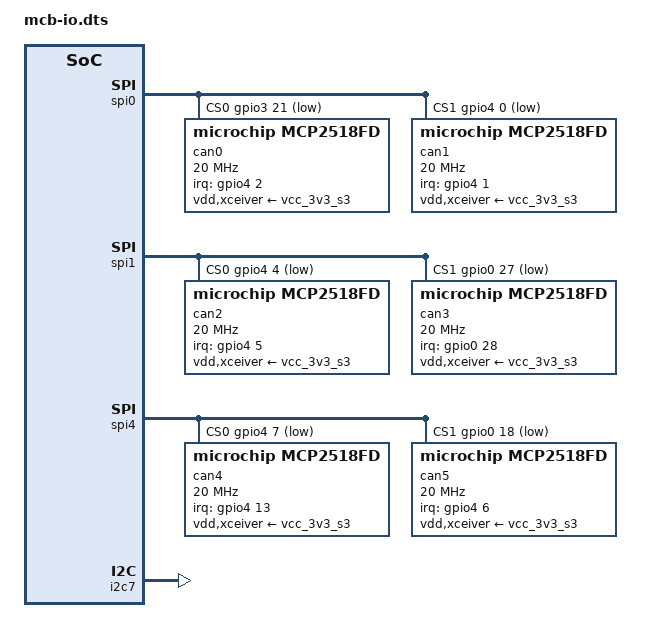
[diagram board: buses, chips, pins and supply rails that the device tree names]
/dts-v1/;
/plugin/;

/ {
    fragment@0 {
        target = <&spi0>;
        __overlay__ {
            status = "okay";
            num-cs = <2>;
            pinctrl-names = "default";
            pinctrl-0 = <&spi0m2_pins &mcp2518_spi0_cs0 &mcp2518_spi0_cs1>;
            #address-cells = <1>;
            #size-cells = <0>;
            max-freq = <20000000>;

            cs-gpios = <&gpio3 21 1>, <&gpio4 0 1>;

            can0: mcp2518fd@0 {
                status = "okay";
                compatible = "microchip,mcp2518fd";
                reg = <0>;
                spi-max-frequency = <20000000>;

                pinctrl-names = "default";
                pinctrl-0 = <&mcp2518_spi0_int0>; 

                interrupt-parent = <&gpio4>;
                interrupts = <2 2>;

                clocks = <&can_clock>;
                vdd-supply = <&vcc_3v3_s3>;
                xceiver-supply = <&vcc_3v3_s3>;
            };
            can1: mcp2518fd@1 {
                status = "okay";
                compatible = "microchip,mcp2518fd";
                reg = <1>;
                spi-max-frequency = <20000000>;
                
                pinctrl-names = "default";
                pinctrl-0 = <&mcp2518_spi0_int1>; 

                interrupt-parent = <&gpio4>;
                interrupts = <1 2>;

                clocks = <&can_clock>;
                vdd-supply = <&vcc_3v3_s3>;
                xceiver-supply = <&vcc_3v3_s3>;
            };
        };
    };

    fragment@1 {
        target = <&spi1>;
        __overlay__ {
            status = "okay";
            num-cs = <2>;
            pinctrl-names = "default";
            pinctrl-0 = <&spi1m2_pins &mcp2518_spi1_cs0 &mcp2518_spi1_cs1>;
            #address-cells = <1>;
            #size-cells = <0>;
            max-freq = <20000000>;

            cs-gpios = <&gpio4 4 1>, <&gpio0 27 1>;

            can2: mcp2518fd@0 {
                status = "okay";
                compatible = "microchip,mcp2518fd";
                reg = <0>;
                spi-max-frequency = <20000000>;

                pinctrl-names = "default";
                pinctrl-0 = <&mcp2518_spi1_int0>; 

                interrupt-parent = <&gpio4>;
                interrupts = <5 2>;

                clocks = <&can_clock>;
                vdd-supply = <&vcc_3v3_s3>;
                xceiver-supply = <&vcc_3v3_s3>;
            };
            can3: mcp2518fd@1 {
                status = "okay";
                compatible = "microchip,mcp2518fd";
                reg = <1>;
                spi-max-frequency = <20000000>;
                
                pinctrl-names = "default";
                pinctrl-0 = <&mcp2518_spi1_int1>; 

                interrupt-parent = <&gpio0>;
                interrupts = <28 2>;

                clocks = <&can_clock>;
                vdd-supply = <&vcc_3v3_s3>;
                xceiver-supply = <&vcc_3v3_s3>;
            };
        };
    };

    fragment@2 {
        target = <&spi4>;
        __overlay__ {
            status = "okay";
            num-cs = <2>;
            pinctrl-names = "default";
            pinctrl-0 = <&spi4m0_pins &mcp2518_spi4_cs0 &mcp2518_spi4_cs1>;
            #address-cells = <1>;
            #size-cells = <0>;
            max-freq = <20000000>;

            cs-gpios = <&gpio4 7 1>, <&gpio0 18 1>;

            can4: mcp2518fd@0 {
                status = "okay";
                compatible = "microchip,mcp2518fd";
                reg = <0>;
                spi-max-frequency = <20000000>;

                pinctrl-names = "default";
                pinctrl-0 = <&mcp2518_spi4_int0>; 

                interrupt-parent = <&gpio4>;
                interrupts = <13 2>;

                clocks = <&can_clock>;
                vdd-supply = <&vcc_3v3_s3>;
                xceiver-supply = <&vcc_3v3_s3>;
            };
            can5: mcp2518fd@1 {
                status = "okay";
                compatible = "microchip,mcp2518fd";
                reg = <1>;
                spi-max-frequency = <20000000>;
                
                pinctrl-names = "default";
                pinctrl-0 = <&mcp2518_spi4_int1>; 

                interrupt-parent = <&gpio4>;
                interrupts = <6 2>;

                clocks = <&can_clock>;
                vdd-supply = <&vcc_3v3_s3>;
                xceiver-supply = <&vcc_3v3_s3>;
            };
        };
    };

    fragment@9 {
        target = <&pinctrl>; 
        __overlay__ {
            mcp2518 {
                mcp2518_spi0_int0: mcp2518-spi0-int0 {
                    rockchip,pins = <4 2 0 &pcfg_pull_none>; 
                };
                mcp2518_spi0_int1: mcp2518-spi0-int1 {
                    rockchip,pins = <4 1 0 &pcfg_pull_none>; 
                };
                mcp2518_spi0_cs0: mcp2518-spi0-cs0 {
                    rockchip,pins = <3 21 0 &pcfg_pull_up_drv_level_5>;
                };
                mcp2518_spi0_cs1: mcp2518-spi0-cs1 {
                    rockchip,pins = <4 0 0 &pcfg_pull_up_drv_level_5>;
                };
                mcp2518_spi1_int0: mcp2518-spi1-int0 {
                    rockchip,pins = <4 5 0 &pcfg_pull_none>; 
                };
                mcp2518_spi1_int1: mcp2518-spi1-int1 {
                    rockchip,pins = <0 28 0 &pcfg_pull_none>; 
                };
                mcp2518_spi1_cs0: mcp2518-spi1-cs0 {
                    rockchip,pins = <4 4 0 &pcfg_pull_up_drv_level_5>;
                };
                mcp2518_spi1_cs1: mcp2518-spi1-cs1 {
                    rockchip,pins = <0 27 0 &pcfg_pull_up_drv_level_5>;
                };
                mcp2518_spi4_int0: mcp2518-spi4-int0 {
                    rockchip,pins = <4 13 0 &pcfg_pull_none>; 
                };
                mcp2518_spi4_int1: mcp2518-spi4-int1 {
                    rockchip,pins = <4 6 0 &pcfg_pull_none>; 
                };
                mcp2518_spi4_cs0: mcp2518-spi4-cs0 {
                    rockchip,pins = <4 7 0 &pcfg_pull_up_drv_level_5>;
                };
                mcp2518_spi4_cs1: mcp2518-spi4-cs1 {
                    rockchip,pins = <0 18 0 &pcfg_pull_up_drv_level_5>;
                };
            };
        };
    };

    fragment@10 {
        target-path = "/";
        __overlay__ {
            can_clock: can-clock {
                compatible = "fixed-clock";
                #clock-cells = <0>;
                clock-frequency  = <40000000>;
            };
        };
    };

    fragment@11 {
        target = <&i2c7>;
        __overlay__ {
            status = "okay";
            pinctrl-0 = <&i2c7m2_xfer>;
        };
    };
};

